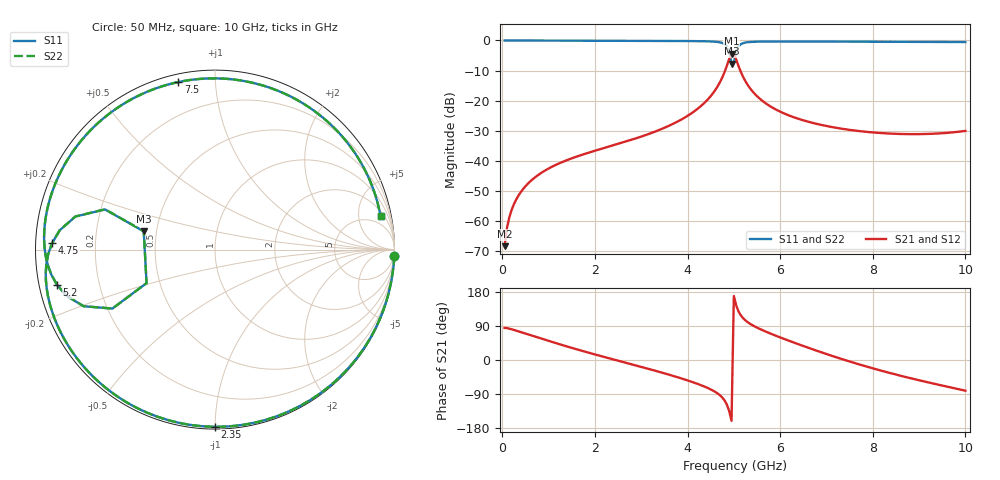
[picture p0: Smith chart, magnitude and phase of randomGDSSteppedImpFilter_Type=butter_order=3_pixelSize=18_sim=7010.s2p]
! freq	dB(S11)	phase(S11)	dB(S12)	phase(S12)
!  dB(S21)	phase(S21)	dB(S22)	phase(S22)
!S-par simulation data
#  GHz  S  DB  R 50
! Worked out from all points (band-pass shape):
!   200 points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, 50 MHz to 10 GHz, reference 50 ohm
!   highest |S21| = -4.43 dB at 4.95 GHz (marker M1); lowest = -68.3 dB at 50 MHz (marker M2)
!   |S21| within 3 dB of the highest: 4.871 GHz to 5.076 GHz (204.9 MHz wide, 4.12 % of centre)
!   lowest |S11| = -7.7 dB at 4.95 GHz (marker M3), VSWR 2.39, Z = 21.2 + j5.19 ohm
!   |S11| at or under -10 dB: nowhere
!   |S22| runs from -7.7 to 0.0 dB; largest |S21 - S12| = 0
!   S11 on the Smith chart (normalised r, x): 50 MHz: 0, -56; 2.35 GHz: 0.01, -1.00; 4.75 GHz: 0.05, +0.02; 5.2 GHz: 0.05, -0.11; 7.5 GHz: 0.04, +0.80; 10 GHz: 2.84, +9.18
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0.05  -0.00 -2.1  -68.34 84.7  -68.34 84.7  -0.00 -2.1
0.1  -0.01 -4.1  -62.37 84.3  -62.37 84.3  -0.01 -4.1
0.2  -0.02 -8.1  -56.37 81.2  -56.37 81.2  -0.02 -8.1
0.5  -0.03 -20.1  -48.44 69.8  -48.44 69.8  -0.03 -20.1
1  -0.05 -39.7  -42.54 50.4  -42.54 50.4  -0.05 -39.8
1.75  -0.08 -68.3  -37.84 23.2  -37.84 23.2  -0.08 -68.3
2.35  -0.11 -90.1  -35.05 3.1  -35.05 3.1  -0.11 -90.1
3.4  -0.16 -126.5  -29.67 -31.7  -29.67 -31.7  -0.16 -126.5
4.25  -0.24 -156.5  -22.31 -64.5  -22.31 -64.5  -0.24 -156.5
4.75  -0.83 177.8  -12.30 -99.0  -12.30 -99.0  -0.83 177.8
4.85  -1.94 166.7  -8.38 -117.8  -8.38 -117.8  -1.94 166.6
4.9  -3.71 159.9  -6.14 -134.8  -6.14 -134.8  -3.71 159.9
4.95  -7.74 165.6  -4.43 -160.5  -4.43 -160.5  -7.75 165.5
5  -7.44 -153.9  -4.53 168.8  -4.53 168.8  -7.44 -153.9
5.05  -3.62 -150.1  -6.30 144.3  -6.30 144.3  -3.62 -150.1
5.2  -0.90 -167.4  -12.11 110.3  -12.11 110.3  -0.90 -167.4
5.75  -0.34 165.1  -21.53 71.8  -21.53 71.8  -0.34 165.1
6.7  -0.35 131.0  -27.38 28.3  -27.38 28.3  -0.35 130.9
7.5  -0.39 102.4  -29.71 -3.9  -29.71 -3.9  -0.39 102.3
8.35  -0.43 71.1  -30.92 -33.7  -30.92 -33.7  -0.43 71.1
9.25  -0.47 38.0  -31.02 -60.6  -31.02 -60.6  -0.47 37.9
10  -0.53 11.4  -30.06 -81.0  -30.06 -81.0  -0.53 11.3
